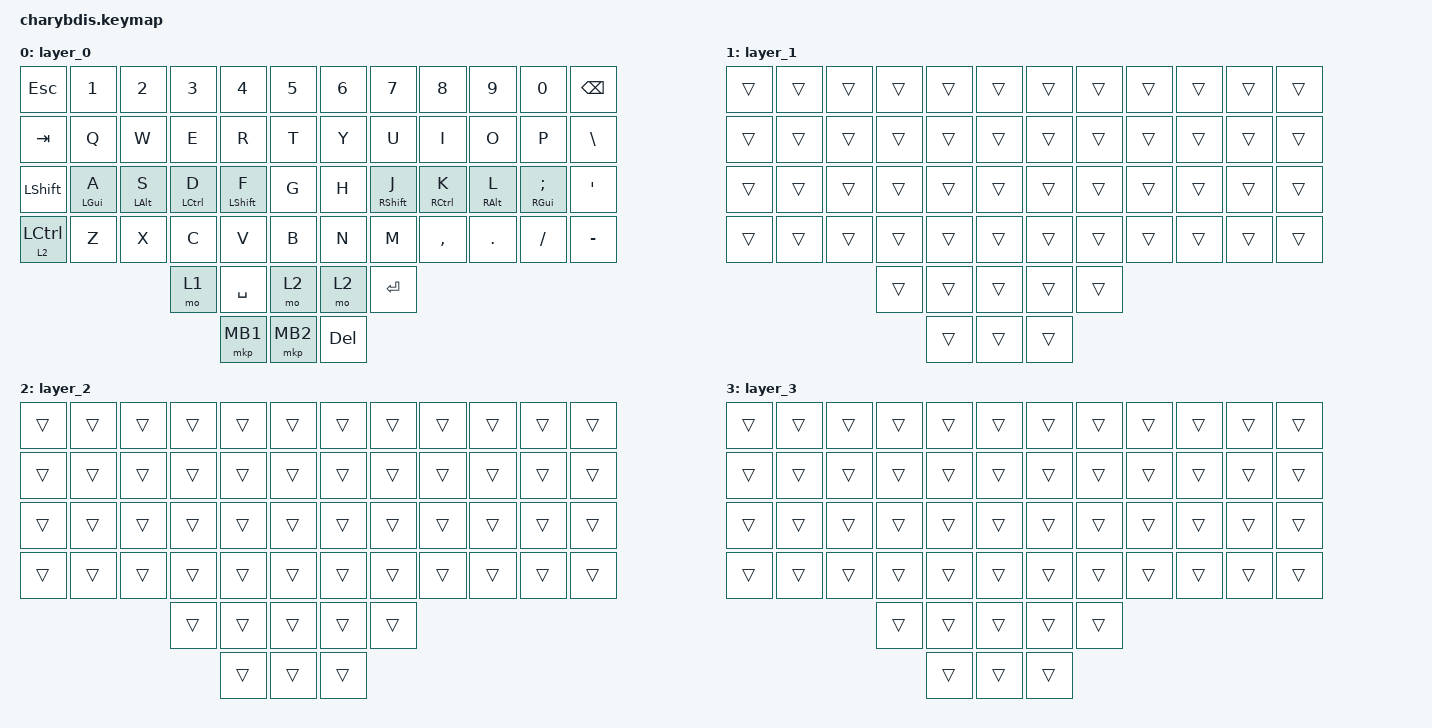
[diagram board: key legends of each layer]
#include <dt-bindings/zmk/mouse.h>
#include <behaviors.dtsi>
#include <dt-bindings/zmk/bt.h>
#include <dt-bindings/zmk/keys.h>
#include <dt-bindings/zmk/pointing.h>

&lt {
    tapping-term-ms = <220>;
    flavor = "tap-preferred";
    quick-tap-ms = <150>;
};

&mt {
    tapping-term-ms = <220>;
    flavor = "tap-preferred";
    quick-tap-ms = <150>;
};

/ {
    keymap {
        compatible = "zmk,keymap";

        layer_0 {
            bindings = <
&kp ESC         &kp N1  &kp N2  &kp N3        &kp N4     &kp N5      &kp N6     &kp N7     &kp N8     &kp N9            &kp N0    &kp BACKSPACE
&kp TAB         &kp Q   &kp W   &kp E         &kp R      &kp T       &kp Y      &kp U      &kp I      &kp O             &kp P     &kp BSLH
&kp LEFT_SHIFT  &mt LGUI A  &mt LALT S  &mt LCTRL D   &mt LSHIFT F  &kp G   &kp H   &mt RSHIFT J  &mt RCTRL K  &mt RALT L       &mt RGUI SEMI  &kp SQT
&lt 2 LCTRL       &kp Z   &kp X   &kp C         &kp V      &kp B       &kp N      &kp M      &kp COMMA  &kp PERIOD        &kp FSLH  &kp MINUS
                                &mo 1         &kp SPACE  &mo 2       &mo 2      &kp ENTER
                                              &mkp MB1   &mkp MB2    &kp DELETE
            >;

            trackball-bindings = <&tmv_coarse>;
        };
        // Layer 1: Numbers (slow DPI)
        layer_1 {
            bindings = <
&trans  &trans  &trans     &trans     &trans     &trans       &trans     &trans     &trans     &trans     &trans  &trans
&trans  &trans  &trans     &trans     &trans     &trans       &trans     &trans     &trans     &trans     &trans  &trans
&trans  &trans  &trans     &trans     &trans     &trans       &trans     &trans     &trans     &trans     &trans  &trans
&trans  &trans  &trans     &trans     &trans     &trans       &trans     &trans     &trans     &trans     &trans  &trans
                           &trans     &trans     &trans       &trans     &trans
                                      &trans     &trans       &trans
            >;
            trackball-bindings = <&tmv_fine>;
        };

        // Numbers/Lower: low-DPI precision cursor while held
        layer_2 {
            bindings = <
&trans  &trans  &trans     &trans     &trans     &trans       &trans     &trans     &trans     &trans     &trans  &trans
&trans  &trans  &trans     &trans     &trans     &trans       &trans     &trans     &trans     &trans     &trans  &trans
&trans  &trans  &trans     &trans     &trans     &trans       &trans     &trans     &trans     &trans     &trans  &trans
&trans  &trans  &trans     &trans     &trans     &trans       &trans     &trans     &trans     &trans     &trans  &trans
                           &trans     &trans     &trans       &trans     &trans
                                      &trans     &trans       &trans
            >;
            trackball-bindings = <&tmv_fine>;
        };

        // Layer 3: Adjust (tri-layer target, transparent by default)
        layer_3 {
            bindings = <
&trans  &trans  &trans     &trans     &trans     &trans       &trans     &trans     &trans     &trans     &trans  &trans
&trans  &trans  &trans     &trans     &trans     &trans       &trans     &trans     &trans     &trans     &trans  &trans
&trans  &trans  &trans     &trans     &trans     &trans       &trans     &trans     &trans     &trans     &trans  &trans
&trans  &trans  &trans     &trans     &trans     &trans       &trans     &trans     &trans     &trans     &trans  &trans
                           &trans     &trans     &trans       &trans     &trans
                                      &trans     &trans       &trans
            >;
        };
    };
};
